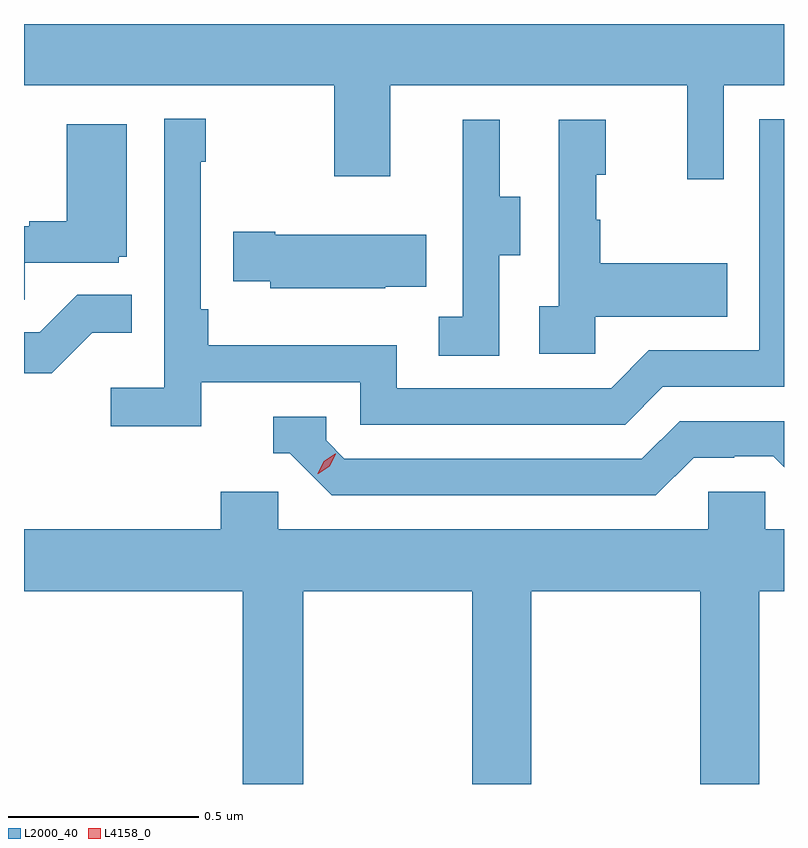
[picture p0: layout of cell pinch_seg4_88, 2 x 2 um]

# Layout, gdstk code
import gdstk
lib = gdstk.Library(unit=1e-6, precision=1e-09)
def P(c, l, *ps):  # polygons
    for p in ps: c.add(gdstk.Polygon(p, *l))
L2000_40 = (2000, 40)
L4158_0 = (4158, 0)

pinch_seg4_88 = lib.new_cell('pinch_seg4_88')
P(pinch_seg4_88, L2000_40, [(1066.173,830.12),(1066.331,830.12),(1066.331,830.281),(1064.331,830.281),(1064.331,830.12),(1065.148,830.12),(1065.148,829.881),(1065.295,829.881),(1065.295,830.12),(1066.076,830.12),(1066.076,829.872),(1066.173,829.872)],
  [(1064.798,829.338),(1065.216,829.338),(1065.216,829.227),(1065.913,829.227),(1066.012,829.326),(1066.331,829.326),(1066.331,830.031),(1066.266,830.031),(1066.266,829.422),(1065.975,829.422),(1065.876,829.323),(1065.312,829.323),(1065.312,829.435),(1064.816,829.435),(1064.816,829.531),(1064.796,829.531),(1064.796,829.919),(1064.809,829.919),(1064.809,830.032),(1064.7,830.032),(1064.7,829.324),(1064.559,829.324),(1064.559,829.222),(1064.798,829.222)],
  [(1065.582,829.672),(1065.637,829.672),(1065.637,829.827),(1065.583,829.827),(1065.583,830.029),(1065.485,830.029),(1065.485,829.815),(1065.486,829.815),(1065.486,829.511),(1065.423,829.511),(1065.423,829.408),(1065.582,829.408)],
  [(1065.834,829.511),(1066.181,829.511),(1066.181,829.651),(1065.847,829.651),(1065.847,829.766),(1065.837,829.766),(1065.837,829.884),(1065.862,829.884),(1065.862,830.029),(1065.738,830.029),(1065.738,829.538),(1065.687,829.538),(1065.687,829.413),(1065.834,829.413)],
  [(1064.333,829.653),(1064.58,829.653),(1064.58,829.668),(1064.602,829.668),(1064.602,830.017),(1064.444,830.017),(1064.444,829.762),(1064.345,829.762),(1064.345,829.749),(1064.331,829.749),(1064.331,829.555),(1064.333,829.555)],
  [(1065.281,829.589),(1065.389,829.589),(1065.389,829.726),(1064.992,829.726),(1064.992,829.734),(1064.881,829.734),(1064.881,829.604),(1064.979,829.604),(1064.979,829.586),(1065.281,829.586)],
  [(1064.511,829.469),(1064.615,829.469),(1064.615,829.568),(1064.471,829.568),(1064.373,829.47),(1064.331,829.47),(1064.331,829.362),(1064.404,829.362)],
  [(1066.093,829.14),(1066.2,829.14),(1066.2,829.143),(1066.303,829.143),(1066.331,829.115),(1066.331,829.236),(1066.056,829.236),(1065.957,829.137),(1065.174,829.137),(1065.126,829.185),(1065.126,829.248),(1064.987,829.248),(1064.987,829.152),(1065.03,829.152),(1065.141,829.041),(1065.994,829.041)],
  [(1065,829.05),(1064.849,829.05),(1064.849,828.952),(1064.331,828.952),(1064.331,828.788),(1064.906,828.788),(1064.906,828.281),(1065.066,828.281),(1065.066,828.788),(1065.511,828.788),(1065.511,828.281),(1065.666,828.281),(1065.666,828.788),(1066.111,828.788),(1066.111,828.281),(1066.266,828.281),(1066.266,828.788),(1066.331,828.788),(1066.331,828.952),(1066.281,828.952),(1066.281,829.05),(1066.131,829.05),(1066.131,828.952),(1065,828.952)])
P(pinch_seg4_88, L4158_0, [(1065.104,829.098),(1065.104,829.098),(1065.12,829.13),(1065.15,829.15),(1065.151,829.15),(1065.151,829.15),(1065.135,829.117),(1065.105,829.098)])

lib.write_gds('pinch_seg4_88.gds')
